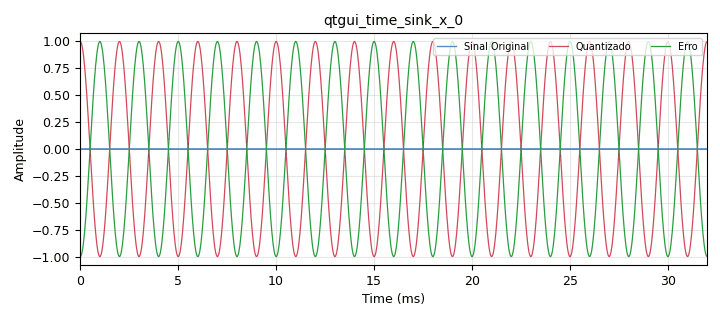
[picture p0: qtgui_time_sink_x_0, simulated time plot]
<?xml version='1.0' encoding='utf-8'?>
<?grc format='1' created='3.7.13'?>
<flow_graph>
<block>
<key>options</key>
<param><key>id</key><value>top_block</value></param>
<param><key>generate_options</key><value>qt_gui</value></param>
</block>
<block>
<key>variable</key>
<param><key>id</key><value>samp_rate</value></param>
<param><key>value</key><value>32000</value></param>
</block>
<block>
<key>analog_sig_source_x</key>
<param><key>id</key><value>analog_sig_source_x_0</value></param>
<param><key>amp</key><value>1</value></param>
<param><key>freq</key><value>500</value></param>
<param><key>offset</key><value>0</value></param>
<param><key>type</key><value>float</value></param>
<param><key>samp_rate</key><value>samp_rate</value></param>
<param><key>waveform</key><value>analog.GR_COS_WAVE</value></param>
</block>
<block>
<key>blocks_sub_xx</key>
<param><key>id</key><value>blocks_sub_xx_0</value></param>
<param><key>type</key><value>float</value></param>
</block>
<block>
<key>blocks_throttle</key>
<param><key>id</key><value>blocks_throttle_0</value></param>
<param><key>samples_per_second</key><value>samp_rate</value></param>
<param><key>type</key><value>float</value></param>
</block>
<block>
<key>channels_quantizer</key>
<param><key>id</key><value>channels_quantizer_0</value></param>
<param><key>bits</key><value>32</value></param>
</block>
<block>
<key>qtgui_time_sink_x</key>
<param><key>id</key><value>qtgui_time_sink_x_0</value></param>
<param><key>color1</key><value>"blue"</value></param>
<param><key>label1</key><value>Sinal Original</value></param>
<param><key>color2</key><value>"red"</value></param>
<param><key>label2</key><value>Quantizado</value></param>
<param><key>color3</key><value>"green"</value></param>
<param><key>label3</key><value>Erro</value></param>
<param><key>nconnections</key><value>3</value></param>
<param><key>size</key><value>1024</value></param>
<param><key>srate</key><value>samp_rate</value></param>
<param><key>type</key><value>float</value></param>
</block>
<connection><source_block_id>analog_sig_source_x_0</source_block_id><sink_block_id>blocks_sub_xx_0</sink_block_id><source_key>0</source_key><sink_key>1</sink_key></connection>
<connection><source_block_id>analog_sig_source_x_0</source_block_id><sink_block_id>blocks_throttle_0</sink_block_id><source_key>0</source_key><sink_key>0</sink_key></connection>
<connection><source_block_id>analog_sig_source_x_0</source_block_id><sink_block_id>channels_quantizer_0</sink_block_id><source_key>0</source_key><sink_key>0</sink_key></connection>
<connection><source_block_id>blocks_sub_xx_0</source_block_id><sink_block_id>qtgui_time_sink_x_0</sink_block_id><source_key>0</source_key><sink_key>2</sink_key></connection>
<connection><source_block_id>blocks_throttle_0</source_block_id><sink_block_id>qtgui_time_sink_x_0</sink_block_id><source_key>0</source_key><sink_key>1</sink_key></connection>
<connection><source_block_id>channels_quantizer_0</source_block_id><sink_block_id>blocks_sub_xx_0</sink_block_id><source_key>0</source_key><sink_key>0</sink_key></connection>
<connection><source_block_id>channels_quantizer_0</source_block_id><sink_block_id>qtgui_time_sink_x_0</sink_block_id><source_key>0</source_key><sink_key>0</sink_key></connection>
</flow_graph>
